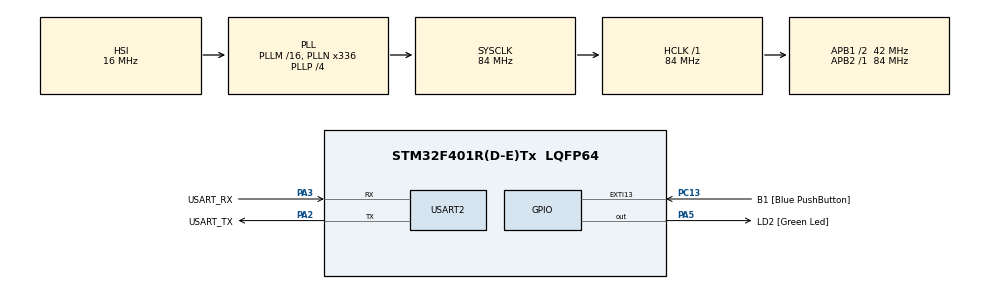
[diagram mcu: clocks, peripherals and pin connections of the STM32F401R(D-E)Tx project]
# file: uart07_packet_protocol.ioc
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Dma.Request0=USART2_RX
Dma.Request1=USART2_TX
Dma.USART2_RX.0.Direction=DMA_PERIPH_TO_MEMORY
Dma.USART2_RX.0.FIFOMode=DMA_FIFOMODE_DISABLE
Dma.USART2_RX.0.Instance=DMA1_Stream5
Dma.USART2_RX.0.MemDataAlignment=DMA_MDATAALIGN_BYTE
Dma.USART2_RX.0.MemInc=DMA_MINC_ENABLE
Dma.USART2_RX.0.Mode=DMA_CIRCULAR
Dma.USART2_RX.0.PeriphDataAlignment=DMA_PDATAALIGN_BYTE
Dma.USART2_RX.0.PeriphInc=DMA_PINC_DISABLE
Dma.USART2_RX.0.Priority=DMA_PRIORITY_LOW
Dma.USART2_TX.1.Direction=DMA_MEMORY_TO_PERIPH
Dma.USART2_TX.1.FIFOMode=DMA_FIFOMODE_DISABLE
Dma.USART2_TX.1.Instance=DMA1_Stream6
Dma.USART2_TX.1.MemDataAlignment=DMA_MDATAALIGN_BYTE
Dma.USART2_TX.1.MemInc=DMA_MINC_ENABLE
Dma.USART2_TX.1.Mode=DMA_NORMAL
Dma.USART2_TX.1.PeriphDataAlignment=DMA_PDATAALIGN_BYTE
Dma.USART2_TX.1.PeriphInc=DMA_PINC_DISABLE
Dma.USART2_TX.1.Priority=DMA_PRIORITY_LOW
Mcu.Family=STM32F4
Mcu.Name=STM32F401R(D-E)Tx
Mcu.Package=LQFP64
NVIC.DMA1_Stream5_IRQn=true\:0\:0\:false\:false\:true\:false\:true\:true
NVIC.DMA1_Stream6_IRQn=true\:0\:0\:false\:false\:true\:false\:true\:true
NVIC.PriorityGroup=NVIC_PRIORITYGROUP_4
NVIC.USART2_IRQn=true\:0\:0\:false\:false\:true\:true\:true\:true
PA13.GPIO_Label=TMS
PA13.Mode=Serial_Wire
PA13.Signal=SYS_JTMS-SWDIO
PA14.GPIO_Label=TCK
PA14.Mode=Serial_Wire
PA14.Signal=SYS_JTCK-SWCLK
PA2.GPIO_Label=USART_TX
PA2.GPIO_Mode=GPIO_MODE_AF_PP
PA2.GPIO_PuPd=GPIO_NOPULL
PA2.GPIO_Speed=GPIO_SPEED_FREQ_LOW
PA2.Mode=Asynchronous
PA2.Signal=USART2_TX
PA3.GPIO_Label=USART_RX
PA3.GPIO_Mode=GPIO_MODE_AF_PP
PA3.GPIO_PuPd=GPIO_NOPULL
PA3.GPIO_Speed=GPIO_SPEED_FREQ_LOW
PA3.Mode=Asynchronous
PA3.Signal=USART2_RX
PA5.GPIO_Label=LD2 [Green Led]
PA5.GPIO_Mode=GPIO_MODE_OUTPUT_PP
PA5.GPIO_PuPd=GPIO_NOPULL
PA5.GPIO_Speed=GPIO_SPEED_FREQ_LOW
PA5.Signal=GPIO_Output
PB3.GPIO_Label=SWO
PB3.Signal=SYS_JTDO-SWO
PC13-ANTI_TAMP.GPIO_Label=B1 [Blue PushButton]
PC13-ANTI_TAMP.GPIO_ModeDefaultEXTI=GPIO_MODE_IT_FALLING
PC13-ANTI_TAMP.GPIO_PuPd=GPIO_NOPULL
PC13-ANTI_TAMP.Signal=GPXTI13
PC14-OSC32_IN.Mode=LSE-External-Oscillator
PC14-OSC32_IN.Signal=RCC_OSC32_IN
PC15-OSC32_OUT.Mode=LSE-External-Oscillator
PC15-OSC32_OUT.Signal=RCC_OSC32_OUT
PH0\ -\ OSC_IN.Mode=HSE-External-Clock-Source
PH0\ -\ OSC_IN.Signal=RCC_OSC_IN
PH1\ -\ OSC_OUT.Mode=HSE-External-Clock-Source
PH1\ -\ OSC_OUT.Signal=RCC_OSC_OUT
ProjectManager.HeapSize=0x200
ProjectManager.StackSize=0x400
ProjectManager.TargetToolchain=CMake
RCC.48MHZClocksFreq_Value=48000000
RCC.AHBFreq_Value=84000000
RCC.APB1CLKDivider=RCC_HCLK_DIV2
RCC.APB1Freq_Value=42000000
RCC.APB1TimFreq_Value=84000000
RCC.APB2Freq_Value=84000000
RCC.APB2TimFreq_Value=84000000
RCC.CortexFreq_Value=84000000
RCC.HCLKFreq_Value=84000000
RCC.HSE_VALUE=8000000
RCC.HSI_VALUE=16000000
RCC.PLLN=336
RCC.PLLP=RCC_PLLP_DIV4
RCC.PLLQ=7
RCC.SYSCLKFreq_VALUE=84000000
RCC.SYSCLKSource=RCC_SYSCLKSOURCE_PLLCLK
RCC.VCOOutputFreq_Value=336000000
USART2.VirtualMode=VM_ASYNC
board=NUCLEO-F401RE

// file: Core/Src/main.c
/* USER CODE BEGIN Header */
/**
  ******************************************************************************
  * @file           : main.c
  * @brief          : Main program body
  ******************************************************************************
  * @attention
  * --------------------------------
  * UART DMAパケット通信の流れ
  * RX DMAがdma_rx_bufferへ循環受信
  *  ↓
  * Half / Full / IDLEイベント
  *  ↓
  * 新着データだけをring_bufferへ追加
  *  ↓
  * main()がring_bufferから1バイトずつ取り出す
  *  ↓
  * STX / LEN / SEQ / TYPE / PAYLOAD / CRC16として解析
  *  ↓
  * CRCが正しければpayloadをTX DMAでエコーバック
  * --------------------------------
  *
  * Copyright (c) 2026 STMicroelectronics.
  * All rights reserved.
  *
  * This software is licensed under terms that can be found in the LICENSE file
  * in the root directory of this software component.
  * If no LICENSE file comes with this software, it is provided AS-IS.
  *
  ******************************************************************************
  */
/* USER CODE END Header */
#include "main.h"

/* USER CODE BEGIN PTD */
typedef enum
{
  PACKET_STATE_WAIT_STX = 0,
  PACKET_STATE_READ_LEN,
  PACKET_STATE_READ_SEQ,
  PACKET_STATE_READ_TYPE,
  PACKET_STATE_READ_PAYLOAD,
  PACKET_STATE_READ_CRC_LOW,
  PACKET_STATE_READ_CRC_HIGH
} PacketParserState;

/* USER CODE END PTD */

/* USER CODE BEGIN PD */
#define DMA_RX_BUFFER_SIZE 64U
#define RING_BUFFER_SIZE 256U
#define TX_BUFFER_SIZE 64U
#define PACKET_STX 0x02U
#define PACKET_MAX_PAYLOAD_SIZE 48U

/* USER CODE END PD */

UART_HandleTypeDef huart2;
DMA_HandleTypeDef hdma_usart2_rx;
DMA_HandleTypeDef hdma_usart2_tx;

/* USER CODE BEGIN PV */
static uint8_t dma_rx_buffer[DMA_RX_BUFFER_SIZE];
static uint8_t ring_buffer[RING_BUFFER_SIZE];
static uint8_t tx_buffer[TX_BUFFER_SIZE];

static volatile uint16_t dma_rx_old_position;
static volatile uint16_t ring_head;
static volatile uint16_t ring_tail;
static volatile uint8_t tx_busy;

static volatile uint32_t rx_event_count;
static volatile uint32_t ring_overflow_count;
static volatile uint32_t tx_complete_count;
static volatile uint32_t main_loop_count;
static volatile uint32_t packet_ok_count;
static volatile uint32_t packet_crc_error_count;
static volatile uint32_t packet_format_error_count;

static PacketParserState packet_state;
static uint8_t packet_length;
static uint8_t packet_sequence;
static uint8_t packet_type;
static uint8_t packet_payload[PACKET_MAX_PAYLOAD_SIZE];
static uint8_t packet_payload_index;
static uint16_t packet_received_crc;

/* USER CODE END PV */

void SystemClock_Config(void);
static void MX_GPIO_Init(void);
static void MX_DMA_Init(void);
static void MX_USART2_UART_Init(void);
/* USER CODE BEGIN PFP */
static void UART_StartCircularReceiveDMA(void);
static void RingBuffer_WriteFromISR(uint8_t data);
static void DMA_CopyNewDataToRingBuffer(uint16_t position);
static uint8_t RingBuffer_ReadByte(uint8_t *data);
static uint16_t CRC16_CCITT_Update(uint16_t crc, uint8_t data);
static uint16_t Packet_CalculateCRC(void);
static void PacketParser_Reset(void);
static void PacketParser_ProcessByte(uint8_t data);
static void PacketParser_Process(void);
static void Packet_HandleValidPacket(void);
static void UART_TryTransmit(const uint8_t *data, uint16_t length);

/* USER CODE END PFP */

/* USER CODE BEGIN 0 */
static void UART_StartCircularReceiveDMA(void)
{
  /*
   * Circular DMAなので、この関数は起動時に1回だけ呼ぶ。
   * Half / Full / IDLEの各イベントでDMA自体は停止しない。
   */
  if (HAL_UARTEx_ReceiveToIdle_DMA(&huart2,
                                   dma_rx_buffer,
                                   DMA_RX_BUFFER_SIZE) != HAL_OK)
  {
    Error_Handler();
  }
}

static void RingBuffer_WriteFromISR(uint8_t data)
{
  uint16_t next_head = ring_head + 1U;

  if (next_head >= RING_BUFFER_SIZE)
  {
    next_head = 0U;
  }

  /* headの次がtailなら満杯。未処理データを守り、新着1バイトを捨てる。 */
  if (next_head == ring_tail)
  {
    ring_overflow_count++;
    return;
  }

  ring_buffer[ring_head] = data;
  ring_head = next_head;
}

static uint8_t RingBuffer_ReadByte(uint8_t *data)
{
  if (ring_tail == ring_head)
  {
    return 0U;
  }

  *data = ring_buffer[ring_tail];
  ring_tail++;

  if (ring_tail >= RING_BUFFER_SIZE)
  {
    ring_tail = 0U;
  }

  return 1U;
}

static void DMA_CopyNewDataToRingBuffer(uint16_t position)
{
  uint16_t index;

  if (position > DMA_RX_BUFFER_SIZE)
  {
    return;
  }

  if (position > dma_rx_old_position)
  {
    /* DMAバッファ内で折り返していない場合。 */
    for (index = dma_rx_old_position; index < position; index++)
    {
      RingBuffer_WriteFromISR(dma_rx_buffer[index]);
    }
  }
  else if (position < dma_rx_old_position)
  {
    /* DMAバッファ終端から先頭へ折り返した場合。 */
    for (index = dma_rx_old_position; index < DMA_RX_BUFFER_SIZE; index++)
    {
      RingBuffer_WriteFromISR(dma_rx_buffer[index]);
    }

    for (index = 0U; index < position; index++)
    {
      RingBuffer_WriteFromISR(dma_rx_buffer[index]);
    }
  }
  else
  {
    /* 同じ位置の重複イベントなので、新着データはない。 */
  }

  /* FullイベントのSizeは64なので、次の周回位置0に正規化する。 */
  dma_rx_old_position =
      (position == DMA_RX_BUFFER_SIZE) ? 0U : position;
}

static uint16_t CRC16_CCITT_Update(uint16_t crc, uint8_t data)
{
  uint8_t bit;

  crc ^= (uint16_t)data << 8;

  for (bit = 0U; bit < 8U; bit++)
  {
    if ((crc & 0x8000U) != 0U)
    {
      crc = (crc << 1) ^ 0x1021U;
    }
    else
    {
      crc <<= 1;
    }
  }

  return crc;
}

static uint16_t Packet_CalculateCRC(void)
{
  uint16_t crc = 0xFFFFU;
  uint8_t index;

  crc = CRC16_CCITT_Update(crc, PACKET_STX);
  crc = CRC16_CCITT_Update(crc, packet_length);
  crc = CRC16_CCITT_Update(crc, packet_sequence);
  crc = CRC16_CCITT_Update(crc, packet_type);

  for (index = 0U; index < packet_length; index++)
  {
    crc = CRC16_CCITT_Update(crc, packet_payload[index]);
  }

  return crc;
}

static void PacketParser_Reset(void)
{
  packet_state = PACKET_STATE_WAIT_STX;
  packet_length = 0U;
  packet_sequence = 0U;
  packet_type = 0U;
  packet_payload_index = 0U;
  packet_received_crc = 0U;
}

static void PacketParser_ProcessByte(uint8_t data)
{
  switch (packet_state)
  {
    case PACKET_STATE_WAIT_STX:
      if (data == PACKET_STX)
      {
        packet_state = PACKET_STATE_READ_LEN;
      }
      break;

    case PACKET_STATE_READ_LEN:
      packet_length = data;
      packet_payload_index = 0U;

      if (packet_length > PACKET_MAX_PAYLOAD_SIZE)
      {
        packet_format_error_count++;
        PacketParser_Reset();
      }
      else
      {
        packet_state = PACKET_STATE_READ_SEQ;
      }
      break;

    case PACKET_STATE_READ_SEQ:
      packet_sequence = data;
      packet_state = PACKET_STATE_READ_TYPE;
      break;

    case PACKET_STATE_READ_TYPE:
      packet_type = data;
      packet_state = (packet_length == 0U)
                         ? PACKET_STATE_READ_CRC_LOW
                         : PACKET_STATE_READ_PAYLOAD;
      break;

    case PACKET_STATE_READ_PAYLOAD:
      packet_payload[packet_payload_index] = data;
      packet_payload_index++;

      if (packet_payload_index >= packet_length)
      {
        packet_state = PACKET_STATE_READ_CRC_LOW;
      }
      break;

    case PACKET_STATE_READ_CRC_LOW:
      packet_received_crc = data;
      packet_state = PACKET_STATE_READ_CRC_HIGH;
      break;

    case PACKET_STATE_READ_CRC_HIGH:
      packet_received_crc |= (uint16_t)data << 8;

      if (packet_received_crc == Packet_CalculateCRC())
      {
        packet_ok_count++;
        Packet_HandleValidPacket();
      }
      else
      {
        packet_crc_error_count++;
      }

      PacketParser_Reset();
      break;

    default:
      PacketParser_Reset();
      break;
  }
}

static void PacketParser_Process(void)
{
  uint8_t data;

  while (RingBuffer_ReadByte(&data) != 0U)
  {
    PacketParser_ProcessByte(data);
  }
}

static void UART_TryTransmit(const uint8_t *data, uint16_t length)
{
  uint16_t index;

  if ((length == 0U) || (length > TX_BUFFER_SIZE) || (tx_busy != 0U))
  {
    return;
  }

  for (index = 0U; index < length; index++)
  {
    tx_buffer[index] = data[index];
  }

  tx_busy = 1U;

  if (HAL_UART_Transmit_DMA(&huart2, tx_buffer, length) != HAL_OK)
  {
    tx_busy = 0U;
    Error_Handler();
  }
}

static void Packet_HandleValidPacket(void)
{
  /*
   * 最初の段階では、正しいパケットのpayloadだけを返す。
   * ACK/NAKや再送制御は次のステップで追加する。
   */
  UART_TryTransmit(packet_payload, packet_length);
}

/* USER CODE END 0 */

int main(void)
{

  /* MCU Configuration--------------------------------------------------------*/

  /* Reset of all peripherals, Initializes the Flash interface and the Systick. */
  HAL_Init();

  /* Configure the system clock */
  SystemClock_Config();

  /* Initialize all configured peripherals */
  MX_GPIO_Init();
  MX_DMA_Init();
  MX_USART2_UART_Init();
  /* USER CODE BEGIN 2 */
  PacketParser_Reset();
  UART_StartCircularReceiveDMA();

  /* USER CODE END 2 */

  /* Infinite loop */
  while (1)
  {

    /* USER CODE BEGIN 3 */
    main_loop_count++;
    PacketParser_Process();
  }
  /* USER CODE END 3 */
}

void SystemClock_Config(void)
{
  RCC_OscInitTypeDef RCC_OscInitStruct = {0};
  RCC_ClkInitTypeDef RCC_ClkInitStruct = {0};

  /** Configure the main internal regulator output voltage
  */
  __HAL_RCC_PWR_CLK_ENABLE();
  __HAL_PWR_VOLTAGESCALING_CONFIG(PWR_REGULATOR_VOLTAGE_SCALE2);

  /** Initializes the RCC Oscillators according to the specified parameters
  * in the RCC_OscInitTypeDef structure.
  */
  RCC_OscInitStruct.OscillatorType = RCC_OSCILLATORTYPE_HSI;
  RCC_OscInitStruct.HSIState = RCC_HSI_ON;
  RCC_OscInitStruct.HSICalibrationValue = RCC_HSICALIBRATION_DEFAULT;
  RCC_OscInitStruct.PLL.PLLState = RCC_PLL_ON;
  RCC_OscInitStruct.PLL.PLLSource = RCC_PLLSOURCE_HSI;
  RCC_OscInitStruct.PLL.PLLM = 16;
  RCC_OscInitStruct.PLL.PLLN = 336;
  RCC_OscInitStruct.PLL.PLLP = RCC_PLLP_DIV4;
  RCC_OscInitStruct.PLL.PLLQ = 7;
  if (HAL_RCC_OscConfig(&RCC_OscInitStruct) != HAL_OK)
  {
    Error_Handler();
  }

  /** Initializes the CPU, AHB and APB buses clocks
  */
  RCC_ClkInitStruct.ClockType = RCC_CLOCKTYPE_HCLK|RCC_CLOCKTYPE_SYSCLK
                              |RCC_CLOCKTYPE_PCLK1|RCC_CLOCKTYPE_PCLK2;
  RCC_ClkInitStruct.SYSCLKSource = RCC_SYSCLKSOURCE_PLLCLK;
  RCC_ClkInitStruct.AHBCLKDivider = RCC_SYSCLK_DIV1;
  RCC_ClkInitStruct.APB1CLKDivider = RCC_HCLK_DIV2;
  RCC_ClkInitStruct.APB2CLKDivider = RCC_HCLK_DIV1;

  if (HAL_RCC_ClockConfig(&RCC_ClkInitStruct, FLASH_LATENCY_2) != HAL_OK)
  {
    Error_Handler();
  }
}

static void MX_USART2_UART_Init(void)
{

  huart2.Instance = USART2;
  huart2.Init.BaudRate = 115200;
  huart2.Init.WordLength = UART_WORDLENGTH_8B;
  huart2.Init.StopBits = UART_STOPBITS_1;
  huart2.Init.Parity = UART_PARITY_NONE;
  huart2.Init.Mode = UART_MODE_TX_RX;
  huart2.Init.HwFlowCtl = UART_HWCONTROL_NONE;
  huart2.Init.OverSampling = UART_OVERSAMPLING_16;
  if (HAL_UART_Init(&huart2) != HAL_OK)
  {
    Error_Handler();
  }

}

static void MX_DMA_Init(void)
{

  /* DMA controller clock enable */
  __HAL_RCC_DMA1_CLK_ENABLE();

  /* DMA interrupt init */
  /* DMA1_Stream5_IRQn interrupt configuration */
  HAL_NVIC_SetPriority(DMA1_Stream5_IRQn, 0, 0);
  HAL_NVIC_EnableIRQ(DMA1_Stream5_IRQn);
  /* DMA1_Stream6_IRQn interrupt configuration */
  HAL_NVIC_SetPriority(DMA1_Stream6_IRQn, 0, 0);
  HAL_NVIC_EnableIRQ(DMA1_Stream6_IRQn);

}

static void MX_GPIO_Init(void)
{
  GPIO_InitTypeDef GPIO_InitStruct = {0};

  /* GPIO Ports Clock Enable */
  __HAL_RCC_GPIOC_CLK_ENABLE();
  __HAL_RCC_GPIOH_CLK_ENABLE();
  __HAL_RCC_GPIOA_CLK_ENABLE();
  __HAL_RCC_GPIOB_CLK_ENABLE();

  /*Configure GPIO pin Output Level */
  HAL_GPIO_WritePin(LD2_GPIO_Port, LD2_Pin, GPIO_PIN_RESET);

  /*Configure GPIO pin : B1_Pin */
  GPIO_InitStruct.Pin = B1_Pin;
  GPIO_InitStruct.Mode = GPIO_MODE_IT_FALLING;
  GPIO_InitStruct.Pull = GPIO_NOPULL;
  HAL_GPIO_Init(B1_GPIO_Port, &GPIO_InitStruct);

  /*Configure GPIO pin : LD2_Pin */
  GPIO_InitStruct.Pin = LD2_Pin;
  GPIO_InitStruct.Mode = GPIO_MODE_OUTPUT_PP;
  GPIO_InitStruct.Pull = GPIO_NOPULL;
  GPIO_InitStruct.Speed = GPIO_SPEED_FREQ_LOW;
  HAL_GPIO_Init(LD2_GPIO_Port, &GPIO_InitStruct);

}

/* USER CODE BEGIN 4 */
void HAL_UARTEx_RxEventCallback(UART_HandleTypeDef *huart, uint16_t Size)
{
  if (huart->Instance == USART2)
  {
    rx_event_count++;
    DMA_CopyNewDataToRingBuffer(Size);
  }
}

void HAL_UART_TxCpltCallback(UART_HandleTypeDef *huart)
{
  if (huart->Instance == USART2)
  {
    tx_complete_count++;
    tx_busy = 0U;
    HAL_GPIO_TogglePin(LD2_GPIO_Port, LD2_Pin);
  }
}

/* USER CODE END 4 */

void Error_Handler(void)
{
  __disable_irq();
  while (1)
  {
  }
}
